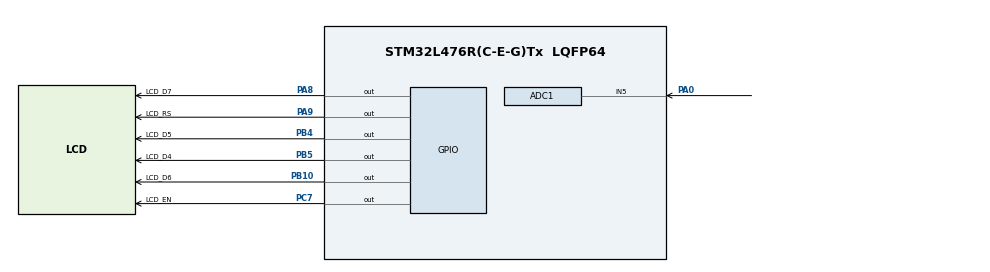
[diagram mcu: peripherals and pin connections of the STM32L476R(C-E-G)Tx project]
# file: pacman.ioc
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ADC1.Channel-0\#ChannelRegularConversion=ADC_CHANNEL_5
ADC1.NbrOfConversionFlag=1
ADC1.OffsetNumber-0\#ChannelRegularConversion=ADC_OFFSET_NONE
ADC1.Rank-0\#ChannelRegularConversion=1
ADC1.SamplingTime-0\#ChannelRegularConversion=ADC_SAMPLETIME_2CYCLES_5
ADC1.master=1
Mcu.Family=STM32L4
Mcu.Name=STM32L476R(C-E-G)Tx
Mcu.Package=LQFP64
NVIC.PriorityGroup=NVIC_PRIORITYGROUP_4
PA0.Signal=ADCx_IN5
PA8.GPIO_Label=LCD_D7
PA8.Signal=GPIO_Output
PA9.GPIO_Label=LCD_RS
PA9.Signal=GPIO_Output
PB10.GPIO_Label=LCD_D6
PB10.Signal=GPIO_Output
PB4\ (NJTRST).GPIO_Label=LCD_D5
PB4\ (NJTRST).Signal=GPIO_Output
PB5.GPIO_Label=LCD_D4
PB5.Signal=GPIO_Output
PC7.GPIO_Label=LCD_EN
PC7.Signal=GPIO_Output
ProjectManager.HeapSize=0x200
ProjectManager.StackSize=0x400
ProjectManager.TargetToolchain=STM32CubeIDE
RCC.HSE_VALUE=8000000
RCC.HSI_VALUE=16000000
RCC.LSE_VALUE=32768
RCC.MSI_VALUE=4000000
RCC.VCOOutputFreq_Value=32000000
SH.ADCx_IN5.0=ADC1_IN5,IN5-Single-Ended
VP_RTC_VS_RTC_Activate.Mode=RTC_Enabled
board=custom

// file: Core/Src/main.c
/* USER CODE BEGIN Header */
/**
  ****************************************************************************
  * @file           : main.c
  * @brief          : Main program body
  ****************************************************************************
  * @attention
  *
  * Copyright (c) 2024 STMicroelectronics.
  * All rights reserved.
  *
  * This software is licensed under terms that can be found in the LICENSE file
  * in the root directory of this software component.
  * If no LICENSE file comes with this software, it is provided AS-IS.
  *
  ****************************************************************************
  */
/* USER CODE END Header */
#include "main.h"

/* USER CODE BEGIN Includes */
#include "lcd.h"
#include <string.h>
#include <math.h>
#include <stdlib.h>
#include <stdbool.h>
#include <zmienna.h>
/* USER CODE END Includes */

ADC_HandleTypeDef hadc1;

RTC_HandleTypeDef hrtc;

/* USER CODE BEGIN PV */
RTC_TimeTypeDef nowsTime = {0};
RTC_DateTypeDef nowsDate = {0};
/* USER CODE END PV */

void SystemClock_Config(void);
static void MX_GPIO_Init(void);
static void MX_ADC1_Init(void);
static void MX_RTC_Init(void);

/* USER CODE BEGIN 0 */

typedef struct record
{
	int poziom;
	int wynik;
	char nazwa[4];
} record;

int przycisk()
{
	HAL_ADC_Start(&hadc1);
	HAL_ADC_PollForConversion(&hadc1, 10);
	int x = HAL_ADC_GetValue(&hadc1);

	float y = x*(3.3/(pow(2, 12) - 1));

	if(y > 2.8)
	{
		return 6; //Nic nie wcisnieto
	}

	/*if(y > 2.33 && y < 2.89)		return 1;//Select
	else if(y > 1.75 && y < 2.33)	return 2;//Left
	else if(y > 1.23 && y < 1.75)	return 3;//Down
	else if(y > 0.59 && y < 1.23)	return 4;//Up
	else if(y < 0.58)				return 5;//Right*/

	if(y > 2.1 && y < 2.5)
	{
		return 1;//Select
	}
	else if(y > 1.6 && y < 1.9)
	{
		return 2;//Left
	}
	else if(y > 1.1 && y < 1.4)
	{
		return 3;//Down
	}
	else if(y > 0.5 && y < 0.65)
	{
		return 4;//Up
	}
	else if(y < 0.3)
	{
		return 5;//Right
	}
	else
	{
		return 6;
	}
}

void leaderBoard(record* leaderboard)
{
	HAL_Delay(150);

	char opcje[12][15];
	strcpy(opcje[0],"Leaderboard:");
	strcpy(opcje[11],"Powrot");
	char bufer[15];
	char bufer2[6];
	for(int i=0;i<10;i++){

		if(leaderboard[i].wynik != -1)
		{
			sprintf(bufer, "%d", i+1);
			strcat(bufer,".");
			strcat(bufer,leaderboard[i].nazwa);
			strcat(bufer," ");
			sprintf(bufer2, "%d", leaderboard[i].wynik);
			strcat(bufer,bufer2);
			if(leaderboard[i].poziom==0)strcat(bufer,", LAT");
			else if(leaderboard[i].poziom==1)strcat(bufer,", SRE");
			else strcat(bufer,", TRU");
		}
		else
		{
			sprintf(bufer, "%d", i+1);
			strcat(bufer,".");
		}

		strcpy(opcje[i+1],bufer);
	}

	int opcja = 0;

	while(1){
		lcd_clear();
		lcd_print(1,1,opcje[opcja]);
		if(opcja!=11)lcd_print(2,1,opcje[opcja+1]);

		int wybor = 6;

		while(wybor == 6)
		{
		  wybor = przycisk();
		  HAL_Delay(5);
		}

		if(wybor == 1) //Select
		{
			if(opcja==11)break;
		}
		else if(wybor == 4) //Up
		{
			if(opcja > 0)opcja--;
		}
		else if(wybor == 3) //Down
		{
			if(opcja < 11)opcja++;
		}
		HAL_Delay(150);
	}
}
void trudnosc(int* poziom)
{
	HAL_Delay(150);

	char opcje[4][15] = {"Latwy", "Sredni", "Trudny","Powrot"};
	int opcja = 0;
	while(1){
		lcd_clear();
		lcd_print(1,5,"Trudnosc");
		if(opcja != 0)lcd_print(2,1,"<");
		if(opcja != 3)lcd_print(2,16,">");

		int pozycja_wyswietlania = (16 - strlen(opcje[opcja])) / 2 + 1;
		lcd_print(2,pozycja_wyswietlania,opcje[opcja]);

		int wybor = 6;

		while(wybor == 6)
		{
		  wybor = przycisk();
		  HAL_Delay(5);
		}

		if(wybor == 1) //Select
		{
			if(opcja==3)
			{
				break;
			}
			else
			{
				*poziom=opcja;

				lcd_clear();
				lcd_print(1,2, "Zmieniono na:");

				int pozycja_wyswietlania = (16 - strlen(opcje[opcja])) / 2 + 1;
				lcd_print(2,pozycja_wyswietlania,opcje[opcja]);

				HAL_Delay(1500);
				break;
			}
		}
		else if(wybor == 2) //Left
		{
			if(opcja > 0)opcja--;
		}
		else if(wybor == 5) //Right
		{
			if(opcja < 3)opcja++;
		}
		HAL_Delay(150);
	}
}

void pacmanPrawo(int linia, int kolumna)
{
	lcd_gotoxy(linia, kolumna);
	lcd_char_cp(0);
}

void pacmanLewo(int linia, int kolumna)
{
	lcd_gotoxy(linia, kolumna);
	lcd_char_cp(1);
}

void wisienka(int linia, int kolumna)
{
	lcd_gotoxy(linia, kolumna);
	lcd_char_cp(2);
}

void duch(int linia, int kolumna)
{
	lcd_gotoxy(linia, kolumna);
	lcd_char_cp(3);
}

/* USER CODE END 0 */

int main(void)
{

  /* MCU Configuration--------------------------------------------------------*/

  /* Reset of all peripherals, Initializes the Flash interface and the Systick. */
  HAL_Init();

  /* Configure the system clock */
  SystemClock_Config();

  /* Initialize all configured peripherals */
  MX_GPIO_Init();
  MX_ADC1_Init();
  MX_RTC_Init();
  /* USER CODE BEGIN 2 */
  lcd_init(_LCD_4BIT, _LCD_FONT_5x8, _LCD_2LINE);
  int poziom = 0; //0 - latwy, 1 - sredni, 2 - trudny
  int aktywnosc_gry = 0; //0 - gra nie jest aktywna
  record leaderboard[10];
  srand(time(NULL));

  for(int i=0;i<10;i++)
  {
	  leaderboard[i].wynik = -1;
	  leaderboard[i].poziom = -1;
	  strcpy(leaderboard[i].nazwa, "AAA");
  }
  char opcje[3][15] = {"Start", "Trudnosc", "Leaderboard"};
  int opcja = 0; //Start

  RTC_TimeTypeDef sTime = {0};

  sTime.DayLightSaving=RTC_DAYLIGHTSAVING_NONE;
  sTime.StoreOperation=RTC_STOREOPERATION_RESET;

	lcd_cmd(0x40); //Pacman Prawo
	lcd_char_cp(0x06);
	lcd_char_cp(0x09);
	lcd_char_cp(0x12);
	lcd_char_cp(0x14);
	lcd_char_cp(0x12);
	lcd_char_cp(0x09);
	lcd_char_cp(0x06);
	lcd_char_cp(0x00);

	//lcd_cmd(0x41); Pacman Lewo
	lcd_char_cp(0x0C);
	lcd_char_cp(0x12);
	lcd_char_cp(0x09);
	lcd_char_cp(0x05);
	lcd_char_cp(0x09);
	lcd_char_cp(0x12);
	lcd_char_cp(0x0C);
	lcd_char_cp(0x00);

	//lcd_cmd(0x42); Wisienka
	lcd_char_cp(0x06);
	lcd_char_cp(0x04);
	lcd_char_cp(0x0E);
	lcd_char_cp(0x11);
	lcd_char_cp(0x11);
	lcd_char_cp(0x11);
	lcd_char_cp(0x0E);
	lcd_char_cp(0x00);

	//lcd_cmd(0x42); Duszek
	lcd_char_cp(0x04);
	lcd_char_cp(0x0E);
	lcd_char_cp(0x1F);
	lcd_char_cp(0x15);
	lcd_char_cp(0x1B);
	lcd_char_cp(0x1F);
	lcd_char_cp(0x15);
	lcd_char_cp(0x00);

  /* USER CODE END 2 */

  /* Infinite loop */
  /* USER CODE BEGIN WHILE */
  while (1)
  {
	  if(aktywnosc_gry == 0)
	  {
		  //menu
		  lcd_clear();
		  lcd_print(1,3,"Pacman Menu");
		  if(opcja != 0)lcd_print(2,1,"<");
		  if(opcja != 2)lcd_print(2,16,">");

		  int pozycja_wyswietlania = (16 - strlen(opcje[opcja])) / 2 + 1;
		  lcd_print(2,pozycja_wyswietlania,opcje[opcja]);

		  int wybor = 6;

		  while(wybor == 6)
		  {
			  wybor = przycisk();
			  HAL_Delay(5);
		  }

		  if(wybor == 1) //Select
		  {
			  if(opcja==0)aktywnosc_gry=1;
			  else if(opcja==1)trudnosc(&poziom);
			  else leaderBoard(&(leaderboard[0]));
		  }
		  if(wybor == 2) //Left
		  {
			  if(opcja > 0)opcja--;
		  }
		  if(wybor == 5) //Right
		  {
			  if(opcja < 2)opcja++;
		  }
		  HAL_Delay(150);
	  }
	  else
	  {
		  if (HAL_RTC_SetTime(&hrtc, &sTime, RTC_FORMAT_BIN) != HAL_OK)
		  {
			  Error_Handler();
		  }
		  int x=7,y=2;
		  int xw=1,yw=1;
		  int xd=3,yd=2;
		  int xdelta,ydelta;
		  int wynik=0;

		  int kierunek = 0; //0 - prawo, 1 - lewo

		  HAL_RTC_GetTime(&hrtc, &nowsTime, RTC_FORMAT_BIN);
		  HAL_RTC_GetDate(&hrtc, &nowsDate, RTC_FORMAT_BIN);
		  HAL_Delay(100);
		  int ghostTime = nowsTime.Seconds;
		  while(aktywnosc_gry)
		  {

			  lcd_clear();

			  if(kierunek == 0)
			  {
				  pacmanPrawo(y, x);
			  }
			  else
			  {
				  pacmanLewo(y, x);
			  }

			  wisienka(yw, xw);
			  if(poziom == 2)duch(yd,xd);

			  int wybor = 6;

			  while(wybor == 6)
			  {
				  wybor = przycisk();
				  if(nowsTime.Seconds>30)break;

				  if(poziom == 2 && nowsTime.Seconds-ghostTime>0)
				  {
					  lcd_clear();
					  if(kierunek == 0)
					  {
						  pacmanPrawo(y, x);
					  }
					  else
					  {
						  pacmanLewo(y, x);
					  }

					  wisienka(yw, xw);
					  xdelta = rand()%3-1;
					  if(xdelta==0) ydelta=rand()%3-1;

					  if(xd+xdelta<17&&xd+xdelta>0)xd+=xdelta;
					  if(yd+ydelta<3&&yd+ydelta>0)yd+=ydelta;
					  duch(yd,xd);
					  if(xd==xw&&yd==yw)break;
					  if(xd==x&&yd==y)break;
					  ghostTime = nowsTime.Seconds;
				  }

				  HAL_Delay(5);
			  }

			  /*if(poziom == 2 && (nowsTime.Seconds*1000+nowsTime.SubSeconds)-(ghostTime.Seconds*1000+ghostTime.SubSeconds)>400)
			  {
				  xdelta = rand()%3-1;
				  if(xdelta==0) ydelta=rand()%3-1;

				  if(xd+xdelta<17&&xd+xdelta>0)xd+=xdelta;
				  if(yd+ydelta<3&&yd+ydelta>0)yd+=ydelta;
				  duch(yd,xd);
				  ghostTime = nowsTime;
			  }*/

			  if(wybor == 1) //Select
			  {

			  }
			  else if(wybor == 2) //Left
			  {
				  if(x>1)x--;

				  kierunek = 1;
			  }
			  else if(wybor == 3) //Down
			  {
				  if(y==1)y++;
			  }
			  else if(wybor == 4) //Up
			  {
				  if(y==2)y--;
			  }
			  else if(wybor == 5) //Right
			  {
				  if(x<16)x++;

				  kierunek = 0;
			  }

			  if(x==xw&&y==yw)wynik++;
			  if(poziom == 2&&xd==xw&&yd==yw)wynik--;

			  while(x==xw&&y==yw||xd==xw&&yd==yw)
			  {
				  if(poziom == 0)
				  {
					  xw=rand()%15+1; //Zakres od 0 do 15
					  yw=rand()%2+1; //Zakres od 0 do 2
				  }
				  else if(poziom == 1)
				  {
					  xw = rand() % 5+1; // Zakres od 0 do 4
					  if (x < 7)
					  {
						  xw += 10; // Zakres od 12 do 15
					  }

					  yw=rand()%2+1; //Zakres od 0 do 2
				  }
				  else if(poziom == 2)
				  {
					  xw = rand() % 5+1; // Zakres od 0 do 4
					  if (x < 7)
					  {
						  xw += 10; // Zakres od 12 do 15
					  }

					  yw=rand()%2+1; //Zakres od 0 do 2
				  }
			  }

			  if(poziom == 2&&xd==x&&yd==y)break;

			  if(nowsTime.Seconds>30)break;

			  HAL_Delay(50);
		  }

		  if(poziom == 1)
		  {
			  wynik = wynik * 1.5;
		  }
		  else if(poziom == 2)
		  {
			  wynik = wynik * 2;
		  }

		  int setNewLeader=0;
		  if(wynik>leaderboard[9].wynik) setNewLeader=1;

		  lcd_clear();
		  lcd_print(1, 3, "Koniec gry!");
		  char b_wynik[15];
		  char b_wynik2[6];
		  strcpy(b_wynik, "Wynik: ");
		  sprintf(b_wynik2, "%d", wynik);
		  strcat(b_wynik, b_wynik2);
		  lcd_print(2, 1, b_wynik);
		  HAL_Delay(3000);
		  lcd_clear();

		  if(setNewLeader){
			  char alfabet[26][2] = {"A", "B", "C", "D", "E", "F", "G", "H", "I", "J", "K", "L", "M", "N", "O", "P", "Q", "R", "S", "T", "U", "V", "W", "X", "Y", "Z"};
			  int nazwa[3] = {0, 0, 0};
			  int pozycja = 0;
			  char bufor[4];

			  while(1)
			  {
				  strcpy(bufor, alfabet[nazwa[0]]);
				  strcat(bufor, alfabet[nazwa[1]]);
				  strcat(bufor, alfabet[nazwa[2]]);

				  lcd_print(1, 1, "Wprowadz nazwe:");
				  lcd_print(2, 7, bufor);

				  int w = 6;

				  while(w == 6)
				  {
					  w = przycisk();
					  HAL_Delay(5);
				  }
				  HAL_Delay(100);

				  if(w == 1) break;
				  else if(w == 2 && pozycja > 0) pozycja--;
				  else if(w == 3 && nazwa[pozycja] > 0) nazwa[pozycja]--;
				  else if(w == 4 && nazwa[pozycja] < 25) nazwa[pozycja]++;
				  else if(w == 5 && pozycja < 2) pozycja++;
			  }

			  strcpy(leaderboard[9].nazwa, bufor);
			  leaderboard[9].poziom = poziom;
			  leaderboard[9].wynik = wynik;
			  int i, j;
			  int swapped;
			  for (i = 0; i < 9; i++) {
				  swapped = 0;
				  for (j = 0; j < 10 - i - 1; j++) {
					  if (leaderboard[j].wynik < leaderboard[j + 1].wynik) {
						  record leader = leaderboard[j];
						  leaderboard[j] = leaderboard[j + 1];
						  leaderboard[j + 1] = leader;
						  swapped = 1;
					  }
				  }
				  if (swapped == 0) break;
			  }
		  }
		  wynik=0;
		  aktywnosc_gry = 0;

	  }

    /* USER CODE END WHILE */

  }
}

void SystemClock_Config(void)
{
  RCC_OscInitTypeDef RCC_OscInitStruct = {0};
  RCC_ClkInitTypeDef RCC_ClkInitStruct = {0};

  /** Configure the main internal regulator output voltage
  */
  if (HAL_PWREx_ControlVoltageScaling(PWR_REGULATOR_VOLTAGE_SCALE1) != HAL_OK)
  {
    Error_Handler();
  }

  /** Initializes the RCC Oscillators according to the specified parameters
  * in the RCC_OscInitTypeDef structure.
  */
  RCC_OscInitStruct.OscillatorType = RCC_OSCILLATORTYPE_LSI|RCC_OSCILLATORTYPE_MSI;
  RCC_OscInitStruct.LSIState = RCC_LSI_ON;
  RCC_OscInitStruct.MSIState = RCC_MSI_ON;
  RCC_OscInitStruct.MSICalibrationValue = 0;
  RCC_OscInitStruct.MSIClockRange = RCC_MSIRANGE_6;
  RCC_OscInitStruct.PLL.PLLState = RCC_PLL_NONE;
  if (HAL_RCC_OscConfig(&RCC_OscInitStruct) != HAL_OK)
  {
    Error_Handler();
  }

  /** Initializes the CPU, AHB and APB buses clocks
  */
  RCC_ClkInitStruct.ClockType = RCC_CLOCKTYPE_HCLK|RCC_CLOCKTYPE_SYSCLK
                              |RCC_CLOCKTYPE_PCLK1|RCC_CLOCKTYPE_PCLK2;
  RCC_ClkInitStruct.SYSCLKSource = RCC_SYSCLKSOURCE_MSI;
  RCC_ClkInitStruct.AHBCLKDivider = RCC_SYSCLK_DIV1;
  RCC_ClkInitStruct.APB1CLKDivider = RCC_HCLK_DIV1;
  RCC_ClkInitStruct.APB2CLKDivider = RCC_HCLK_DIV1;

  if (HAL_RCC_ClockConfig(&RCC_ClkInitStruct, FLASH_LATENCY_0) != HAL_OK)
  {
    Error_Handler();
  }
}

static void MX_ADC1_Init(void)
{

  ADC_MultiModeTypeDef multimode = {0};
  ADC_ChannelConfTypeDef sConfig = {0};

  /** Common config
  */
  hadc1.Instance = ADC1;
  hadc1.Init.ClockPrescaler = ADC_CLOCK_ASYNC_DIV1;
  hadc1.Init.Resolution = ADC_RESOLUTION_12B;
  hadc1.Init.DataAlign = ADC_DATAALIGN_RIGHT;
  hadc1.Init.ScanConvMode = ADC_SCAN_DISABLE;
  hadc1.Init.EOCSelection = ADC_EOC_SINGLE_CONV;
  hadc1.Init.LowPowerAutoWait = DISABLE;
  hadc1.Init.ContinuousConvMode = DISABLE;
  hadc1.Init.NbrOfConversion = 1;
  hadc1.Init.DiscontinuousConvMode = DISABLE;
  hadc1.Init.ExternalTrigConv = ADC_SOFTWARE_START;
  hadc1.Init.ExternalTrigConvEdge = ADC_EXTERNALTRIGCONVEDGE_NONE;
  hadc1.Init.DMAContinuousRequests = DISABLE;
  hadc1.Init.Overrun = ADC_OVR_DATA_PRESERVED;
  hadc1.Init.OversamplingMode = DISABLE;
  if (HAL_ADC_Init(&hadc1) != HAL_OK)
  {
    Error_Handler();
  }

  /** Configure the ADC multi-mode
  */
  multimode.Mode = ADC_MODE_INDEPENDENT;
  if (HAL_ADCEx_MultiModeConfigChannel(&hadc1, &multimode) != HAL_OK)
  {
    Error_Handler();
  }

  /** Configure Regular Channel
  */
  sConfig.Channel = ADC_CHANNEL_5;
  sConfig.Rank = ADC_REGULAR_RANK_1;
  sConfig.SamplingTime = ADC_SAMPLETIME_2CYCLES_5;
  sConfig.SingleDiff = ADC_SINGLE_ENDED;
  sConfig.OffsetNumber = ADC_OFFSET_NONE;
  sConfig.Offset = 0;
  if (HAL_ADC_ConfigChannel(&hadc1, &sConfig) != HAL_OK)
  {
    Error_Handler();
  }

}

static void MX_RTC_Init(void)
{

  /** Initialize RTC Only
  */
  hrtc.Instance = RTC;
  hrtc.Init.HourFormat = RTC_HOURFORMAT_24;
  hrtc.Init.AsynchPrediv = 127;
  hrtc.Init.SynchPrediv = 255;
  hrtc.Init.OutPut = RTC_OUTPUT_DISABLE;
  hrtc.Init.OutPutRemap = RTC_OUTPUT_REMAP_NONE;
  hrtc.Init.OutPutPolarity = RTC_OUTPUT_POLARITY_HIGH;
  hrtc.Init.OutPutType = RTC_OUTPUT_TYPE_OPENDRAIN;
  if (HAL_RTC_Init(&hrtc) != HAL_OK)
  {
    Error_Handler();
  }

}

static void MX_GPIO_Init(void)
{
  GPIO_InitTypeDef GPIO_InitStruct = {0};

  /* GPIO Ports Clock Enable */
  __HAL_RCC_GPIOA_CLK_ENABLE();
  __HAL_RCC_GPIOB_CLK_ENABLE();
  __HAL_RCC_GPIOC_CLK_ENABLE();

  /*Configure GPIO pin Output Level */
  HAL_GPIO_WritePin(GPIOB, LCD_D6_Pin|LCD_D5_Pin|LCD_D4_Pin, GPIO_PIN_RESET);

  /*Configure GPIO pin Output Level */
  HAL_GPIO_WritePin(LCD_EN_GPIO_Port, LCD_EN_Pin, GPIO_PIN_RESET);

  /*Configure GPIO pin Output Level */
  HAL_GPIO_WritePin(GPIOA, LCD_D7_Pin|LCD_RS_Pin, GPIO_PIN_RESET);

  /*Configure GPIO pins : LCD_D6_Pin LCD_D5_Pin LCD_D4_Pin */
  GPIO_InitStruct.Pin = LCD_D6_Pin|LCD_D5_Pin|LCD_D4_Pin;
  GPIO_InitStruct.Mode = GPIO_MODE_OUTPUT_PP;
  GPIO_InitStruct.Pull = GPIO_NOPULL;
  GPIO_InitStruct.Speed = GPIO_SPEED_FREQ_LOW;
  HAL_GPIO_Init(GPIOB, &GPIO_InitStruct);

  /*Configure GPIO pin : LCD_EN_Pin */
  GPIO_InitStruct.Pin = LCD_EN_Pin;
  GPIO_InitStruct.Mode = GPIO_MODE_OUTPUT_PP;
  GPIO_InitStruct.Pull = GPIO_NOPULL;
  GPIO_InitStruct.Speed = GPIO_SPEED_FREQ_LOW;
  HAL_GPIO_Init(LCD_EN_GPIO_Port, &GPIO_InitStruct);

  /*Configure GPIO pins : LCD_D7_Pin LCD_RS_Pin */
  GPIO_InitStruct.Pin = LCD_D7_Pin|LCD_RS_Pin;
  GPIO_InitStruct.Mode = GPIO_MODE_OUTPUT_PP;
  GPIO_InitStruct.Pull = GPIO_NOPULL;
  GPIO_InitStruct.Speed = GPIO_SPEED_FREQ_LOW;
  HAL_GPIO_Init(GPIOA, &GPIO_InitStruct);

}

void Error_Handler(void)
{
  __disable_irq();
  while (1)
  {
  }
}
